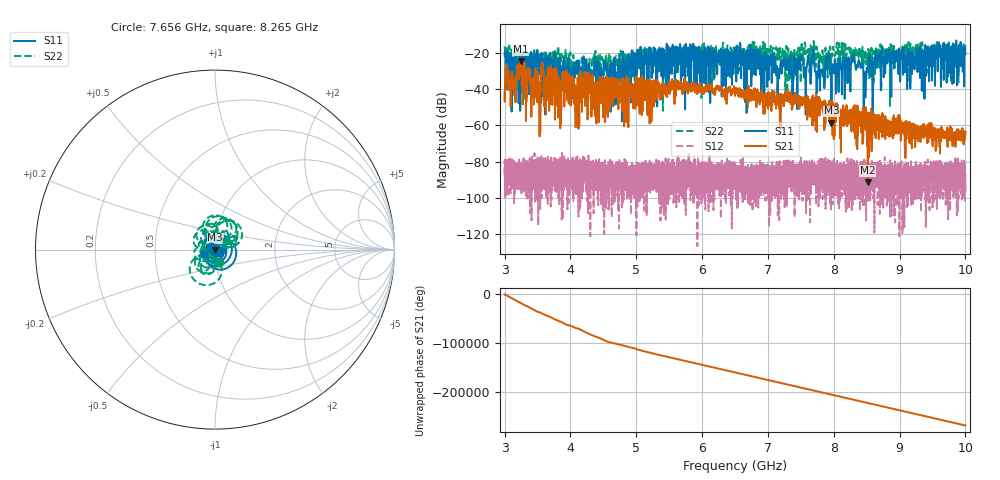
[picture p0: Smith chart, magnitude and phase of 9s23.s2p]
!Agilent Technologies,E8363B,MY43030572,A.06.04.32
!Agilent E8363B: A.06.04.32
!Date: Tuesday, June 07, 2011 09:13:28
!Correction: S11(Full 2 Port(1,2)) S21(Full 2 Port(1,2)) S12(Full 2 Port(1,2)) S22(Full 2 Port(1,2))
!S2P File: Measurements: S11, S21, S12, S22:
# Hz S  dB  R 50
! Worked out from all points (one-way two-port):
!   6401 points, 3 GHz to 10 GHz, reference 50 ohm
!   highest |S21| = -24.70 dB at 3.245 GHz (marker M1); lowest = -91.5 dB at 8.517 GHz (marker M2)
!   lowest |S11| = -58.6 dB at 7.966 GHz (marker M3), VSWR 1.00, Z = 50.1 - j0.0808 ohm
!   |S11| at or under -10 dB: start of sweep to end of sweep
!   |S22| runs from -52.1 to -13.6 dB; largest |S21 - S12| = 0.058
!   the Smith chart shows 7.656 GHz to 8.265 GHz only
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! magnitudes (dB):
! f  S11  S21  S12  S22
! 3 GHz  -21.6  -41.6  -87.0  -16.4
! 3.245 GHz  -24.9  -24.7  -86.4  -25.4
! 3.513 GHz  -24.2  -37.5  -86.1  -21.2
! 3.583 GHz  -26.6  -26.7  -86.9  -20.6
! 3.831 GHz  -22.9  -35.1  -90.1  -25.2
! 3.909 GHz  -26.8  -43.3  -82.7  -24.5
! 4.167 GHz  -29.4  -35.5  -88.7  -24.9
! 4.398 GHz  -31.5  -36.7  -83.9  -24.2
! 4.467 GHz  -28.8  -37.5  -103.5  -26.8
! 4.527 GHz  -25.8  -58.3  -88.9  -26.7
! 4.683 GHz  -39.0  -35.4  -89.7  -24.4
! 5.334 GHz  -19.5  -40.7  -85.0  -25.2
! 6.5 GHz  -22.0  -43.2  -92.1  -21.7
! 7.154 GHz  -29.9  -43.7  -89.5  -17.0
! 7.353 GHz  -33.2  -44.1  -96.5  -19.4
! 7.667 GHz  -24.3  -51.1  -90.4  -17.6
! 7.966 GHz  -58.6  -50.6  -94.5  -21.1
! 8.296 GHz  -23.3  -52.3  -86.6  -20.5
! 8.483 GHz  -42.0  -50.3  -82.9  -19.6
! 8.517 GHz  -29.2  -91.5  -83.9  -22.3
! 8.834 GHz  -19.6  -64.3  -82.0  -21.1
! 10 GHz  -20.3  -65.0  -86.7  -21.1
